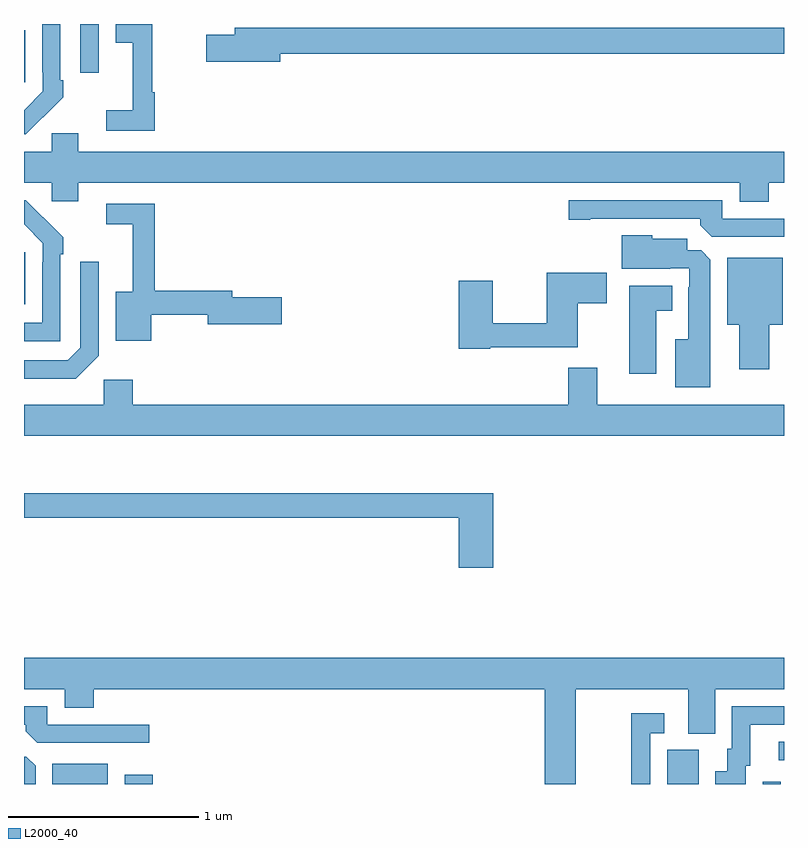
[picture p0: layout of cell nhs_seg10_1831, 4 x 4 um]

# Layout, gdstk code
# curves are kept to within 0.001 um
import gdstk
lib = gdstk.Library(unit=1e-6, precision=1e-09)
def R(c, l, rs):  # rectangles x0, y0, x1, y1
    for r in rs: c.add(gdstk.rectangle(r[:2], r[2:], *l))
def P(c, l, *ps):  # polygons
    for p in ps: c.add(gdstk.Polygon(p, *l))
L2000_40 = (2000, 40)

nhs_seg10_1831 = lib.new_cell('nhs_seg10_1831')
R(nhs_seg10_1831, L2000_40, [(207.149,1282.5,207.442,1282.606), (207.53,1282.5,207.677,1282.549), (210.386,1282.5,210.55,1282.68), (210.888,1282.5,210.984,1282.513), (210.972,1282.626,211,1282.722), (207,1285.025,207.007,1285.3), (207,1286.193,207.007,1286.467), (207.297,1286.244,207.393,1286.5)])
P(nhs_seg10_1831, L2000_40, [(207.101,1286.011),(207.102,1286.01),(207.207,1286.115),(207.207,1286.203),(207.192,1286.203),(207.192,1286.5),(207.096,1286.5),(207.096,1286.245),(207.099,1286.245),(207.099,1286.145),(207,1286.046),(207,1285.92),(207.01,1285.92)],
  [(207.689,1286.141),(207.674,1286.141),(207.674,1286.5),(207.482,1286.5),(207.482,1286.402),(207.572,1286.402),(207.572,1286.047),(207.432,1286.047),(207.432,1285.938),(207.689,1285.938)],
  [(208.348,1286.344),(211,1286.344),(211,1286.48),(208.109,1286.48),(208.109,1286.444),(207.96,1286.444),(207.96,1286.302),(208.348,1286.302)],
  [(210.92,1285.664),(211,1285.664),(211,1285.828),(207.286,1285.828),(207.286,1285.926),(207.147,1285.926),(207.147,1285.828),(207,1285.828),(207,1285.664),(207.147,1285.664),(207.147,1285.566),(207.286,1285.566),(207.286,1285.664),(210.767,1285.664),(210.767,1285.565),(210.92,1285.565)],
  [(207.192,1285.289),(207.207,1285.289),(207.207,1285.377),(207.01,1285.572),(207,1285.572),(207,1285.447),(207.099,1285.347),(207.099,1285.247),(207.096,1285.247),(207.096,1284.927),(207,1284.927),(207,1284.831),(207.192,1284.831)],
  [(211,1285.476),(210.675,1285.476),(210.675,1285.572),(209.868,1285.572),(209.868,1285.471),(209.98,1285.471),(209.98,1285.476),(210.56,1285.476),(210.56,1285.442),(210.621,1285.38),(211,1285.38)],
  [(207.67,1284.969),(207.968,1284.969),(207.968,1284.919),(208.357,1284.919),(208.357,1285.061),(208.096,1285.061),(208.096,1285.097),(207.689,1285.097),(207.689,1285.554),(207.432,1285.554),(207.432,1285.446),(207.572,1285.446),(207.572,1285.09),(207.482,1285.09),(207.482,1284.833),(207.67,1284.833)],
  [(210.613,1285.259),(210.564,1285.308),(210.49,1285.308),(210.49,1285.369),(210.306,1285.369),(210.306,1285.387),(210.146,1285.387),(210.146,1285.211),(210.401,1285.211),(210.401,1285.215),(210.501,1285.215),(210.501,1285.115),(210.497,1285.115),(210.497,1284.841),(210.428,1284.841),(210.428,1284.587),(210.613,1284.587)],
  [(210.922,1284.917),(210.994,1284.917),(210.994,1285.27),(210.701,1285.27),(210.701,1284.917),(210.764,1284.917),(210.764,1284.684),(210.922,1284.684)],
  [(207.393,1284.753),(207.393,1285.249),(207.297,1285.249),(207.297,1284.795),(207.231,1284.729),(207,1284.729),(207,1284.632),(207.272,1284.632)],
  [(209.454,1284.798),(209.914,1284.798),(209.914,1285.03),(210.067,1285.03),(210.067,1285.192),(209.752,1285.192),(209.752,1284.926),(209.466,1284.926),(209.466,1285.15),(209.288,1285.15),(209.288,1284.79),(209.454,1284.79)],
  [(210.328,1284.992),(210.412,1284.992),(210.412,1285.123),(210.185,1285.123),(210.185,1284.66),(210.328,1284.66)],
  [(211,1284.496),(210.016,1284.496),(210.016,1284.691),(209.864,1284.691),(209.864,1284.496),(207.572,1284.496),(207.572,1284.628),(207.42,1284.628),(207.42,1284.496),(207,1284.496),(207,1284.332),(211,1284.332)],
  [(209.471,1284.031),(207,1284.031),(207,1283.902),(209.288,1283.902),(209.288,1283.637),(209.471,1283.637)],
  [(209.905,1283),(210.497,1283),(210.497,1282.765),(210.637,1282.765),(210.637,1283),(211,1283),(211,1283.164),(207,1283.164),(207,1283),(207.215,1283),(207.215,1282.901),(207.368,1282.901),(207.368,1283),(209.741,1283),(209.741,1282.5),(209.905,1282.5)],
  [(210.799,1282.596),(210.823,1282.596),(210.823,1282.812),(211,1282.812),(211,1282.908),(210.726,1282.908),(210.726,1282.686),(210.701,1282.686),(210.701,1282.567),(210.638,1282.567),(210.638,1282.5),(210.799,1282.5)],
  [(207.658,1282.812),(207.123,1282.812),(207.123,1282.908),(207,1282.908),(207,1282.812),(207.008,1282.812),(207.008,1282.778),(207.069,1282.716),(207.658,1282.716)],
  [(210.297,1282.767),(210.37,1282.767),(210.37,1282.873),(210.196,1282.873),(210.196,1282.5),(210.297,1282.5)],
  [(207.061,1282.595),(207.012,1282.644),(207,1282.644),(207,1282.5),(207.061,1282.5)])

lib.write_gds('nhs_seg10_1831.gds')
